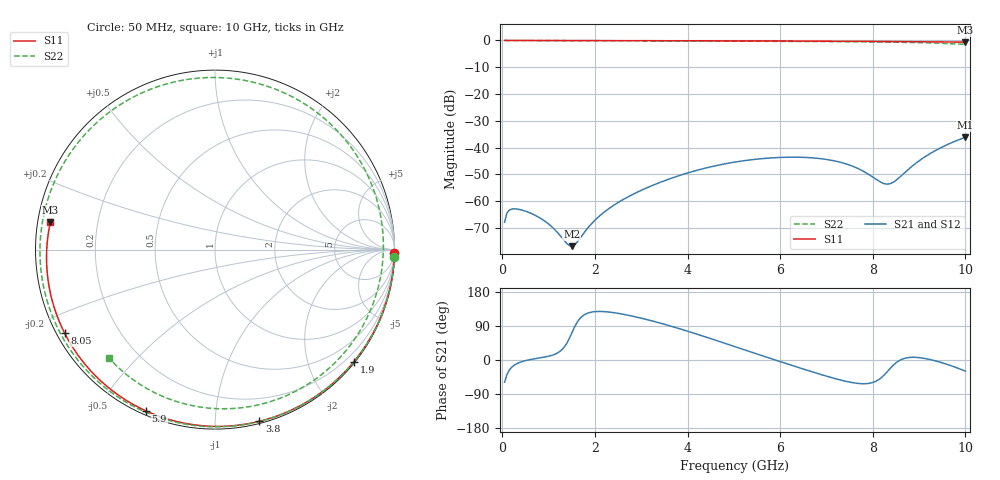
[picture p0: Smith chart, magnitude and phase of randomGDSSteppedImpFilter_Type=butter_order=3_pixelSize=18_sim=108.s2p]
! freq	dB(S11)	phase(S11)	dB(S12)	phase(S12)
!  dB(S21)	phase(S21)	dB(S22)	phase(S22)
!S-par simulation data
#  GHz  S  DB  R 50
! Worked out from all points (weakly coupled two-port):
!   200 points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, 50 MHz to 10 GHz, reference 50 ohm
!   highest |S21| = -36.14 dB at 10 GHz (marker M1); lowest = -76.8 dB at 1.5 GHz (marker M2)
!   lowest |S11| = -0.6 dB at 10 GHz (marker M3), VSWR 27.46, Z = 1.83 + j4.16 ohm
!   |S11| at or under -10 dB: nowhere
!   |S22| runs from -1.5 to 0.0 dB; largest |S21 - S12| = 0
!   S11 on the Smith chart (normalised r, x): 50 MHz: open; 1.9 GHz: 0.03, -2.83; 3.8 GHz: 0.02, -1.29; 5.9 GHz: 0.02, -0.66; 8.05 GHz: 0.02, -0.26; 10 GHz: 0.04, +0.08
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0.05  -0.00 -1.0  -67.89 -58.6  -67.89 -58.6  -0.00 -2.4
0.1  -0.00 -2.1  -64.40 -38.5  -64.40 -38.5  -0.00 -4.7
0.15  -0.00 -3.1  -63.34 -26.8  -63.34 -26.8  -0.00 -7.1
0.5  -0.01 -10.4  -63.73 -1.6  -63.73 -1.6  -0.02 -23.4
0.95  -0.02 -19.7  -67.86 8.6  -67.86 8.6  -0.05 -44.1
1.5  -0.04 -30.9  -76.80 70.9  -76.80 70.9  -0.08 -68.4
1.75  -0.05 -35.9  -72.15 117.6  -72.15 117.6  -0.10 -79.1
1.9  -0.05 -38.9  -68.93 125.7  -68.93 125.7  -0.10 -85.4
2.6  -0.07 -52.7  -59.49 121.0  -59.49 121.0  -0.13 -113.9
3.4  -0.09 -68.0  -53.03 97.7  -53.03 97.7  -0.17 -145.0
3.8  -0.10 -75.5  -50.56 83.5  -50.56 83.5  -0.19 -160.3
4.45  -0.13 -87.4  -47.38 58.5  -47.38 58.5  -0.23 174.6
5.05  -0.15 -98.2  -45.32 34.1  -45.32 34.1  -0.26 150.6
5.9  -0.20 -113.2  -43.75 -0.2  -43.75 -0.2  -0.33 114.0
6.7  -0.25 -127.1  -43.83 -31.5  -43.83 -31.5  -0.39 75.7
7.45  -0.31 -140.3  -46.24 -57.1  -46.24 -57.1  -0.46 36.1
8.05  -0.37 -151.0  -51.58 -57.1  -51.58 -57.1  -0.55 2.1
8.35  -0.40 -156.5  -53.57 -25.9  -53.57 -25.9  -0.61 -15.7
8.8  -0.46 -164.9  -47.65 6.8  -47.65 6.8  -0.74 -43.7
9.3  -0.52 -174.7  -41.62 -0.6  -41.62 -0.6  -0.95 -77.5
9.65  -0.57 178.1  -38.56 -13.3  -38.56 -13.3  -1.17 -104.0
10  -0.63 170.5  -36.14 -29.4  -36.14 -29.4  -1.46 -134.2
